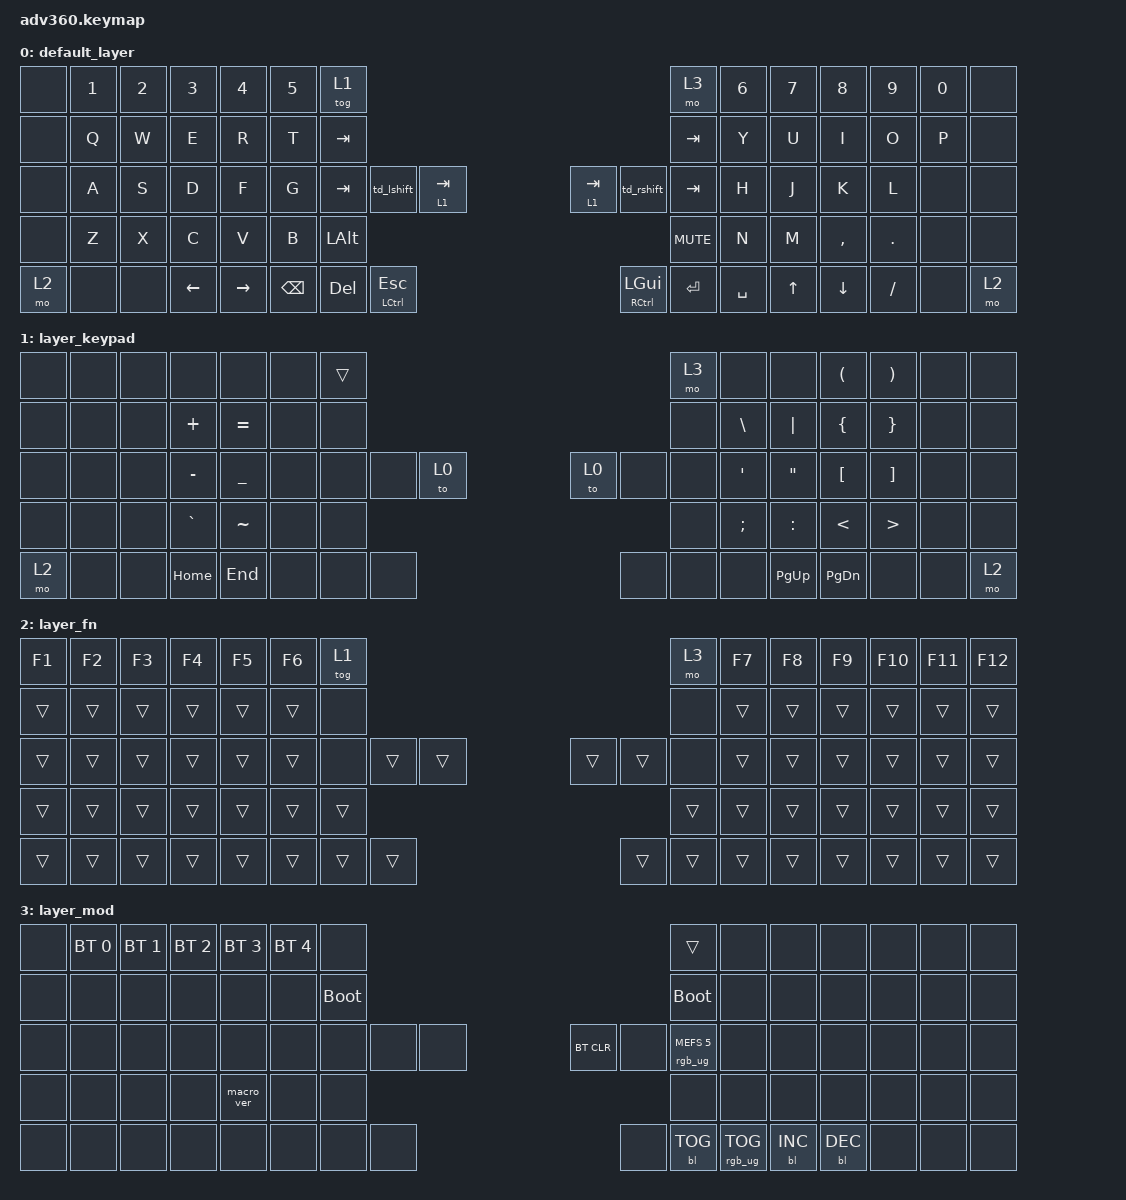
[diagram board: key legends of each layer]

/*
 * Copyright (c) 2020 The ZMK Contributors
 *
 * SPDX-License-Identifier: MIT
 */


/* THIS FILE WAS GENERATED!
 *
 * This file was generated automatically. You may or may not want to
 * edit it directly.
 */

#include <behaviors.dtsi>
#include <dt-bindings/zmk/keys.h>
#include <dt-bindings/zmk/bt.h>
#include <dt-bindings/zmk/rgb.h>
#include <dt-bindings/zmk/backlight.h>

/ {
  behaviors {
    #include "macros.dtsi"
    #include "version.dtsi"
 
    td_lshift: td_lshift {
        compatible = "zmk,behavior-tap-dance";
        #binding-cells = <0>;
        tapping-term-ms = <200>;
        bindings = <&kp LSHIFT>, <&kp CAPS>;
    };
    td_rshift: td_rshift {
        compatible = "zmk,behavior-tap-dance";
        #binding-cells = <0>;
        tapping-term-ms = <200>;
        bindings = <&kp RSHIFT>, <&caps_word>;
    };

    hm: homerow_mods {
        compatible = "zmk,behavior-hold-tap";
        label = "HOMEROW_MODS";
        #binding-cells = <2>;
        tapping-term-ms = <200>;
        quick_tap_ms = <175>;
        flavor = "tap-preferred";
        bindings = <&kp>, <&kp>;
    };
  };

    keymap {
        compatible = "zmk,keymap";


        default_layer {
            bindings = <
  &none  &kp N1  &kp N2    &kp N3     &kp N4  &kp N5                   &tog 1                                                                                                &mo 3  &kp N6  &kp N7     &kp N8     &kp N9  &kp N0   &none
  &none   &kp Q   &kp W     &kp E      &kp R   &kp T                  &kp TAB                                                                                              &kp TAB   &kp Y   &kp U      &kp I      &kp O   &kp P   &none
  &none   &kp A   &kp S     &kp D      &kp F   &kp G                  &kp TAB  &td_lshift             &lt 1 TAB                                   &lt 1 TAB  &td_rshift    &kp TAB   &kp H   &kp J      &kp K      &kp L   &none   &none
  &none   &kp Z   &kp X     &kp C      &kp V   &kp B                                               &kp LEFT_ALT                                  &kp K_MUTE                          &kp N   &kp M  &kp COMMA    &kp DOT   &none   &none
  &mo 2   &none   &none  &kp LEFT  &kp RIGHT                    &kp BACKSPACE     &kp DEL  &mt LEFT_CONTROL ESC                  &mt RIGHT_CONTROL LEFT_GUI   &kp ENTER  &kp SPACE          &kp UP   &kp DOWN  &kp SLASH   &none   &mo 2
            >;
        };

        layer_keypad {
            bindings = <
  &none   &none   &none      &none           &none   &none            &trans                                                   &mo 3             &none              &none  &kp LEFT_PARENTHESIS  &kp RIGHT_PARENTHESIS   &none   &none
  &none   &none   &none   &kp PLUS       &kp EQUAL   &none             &none                                                   &none     &kp BACKSLASH           &kp PIPE        &kp LEFT_BRACE        &kp RIGHT_BRACE   &none   &none
  &none   &none   &none  &kp MINUS  &kp UNDERSCORE   &none             &none   &none   &to 0                   &to 0   &none   &none  &kp SINGLE_QUOTE  &kp DOUBLE_QUOTES      &kp LEFT_BRACKET      &kp RIGHT_BRACKET   &none   &none
  &none   &none   &none  &kp GRAVE       &kp TILDE   &none                             &none                   &none                     &kp SEMICOLON          &kp COLON         &kp LESS_THAN       &kp GREATER_THAN   &none   &none
  &mo 2   &none   &none   &kp HOME         &kp END                     &none   &none   &none                   &none   &none   &none                          &kp PAGE_UP         &kp PAGE_DOWN                  &none   &none   &mo 2
            >;
        };

        layer_fn {
            bindings = <
 &kp F1  &kp F2  &kp F3  &kp F4  &kp F5  &kp F6            &tog 1                                                   &mo 3  &kp F7  &kp F8  &kp F9  &kp F10  &kp F11  &kp F12
 &trans  &trans  &trans  &trans  &trans  &trans             &none                                                   &none  &trans  &trans  &trans   &trans   &trans   &trans
 &trans  &trans  &trans  &trans  &trans  &trans             &none  &trans  &trans                  &trans  &trans   &none  &trans  &trans  &trans   &trans   &trans   &trans
 &trans  &trans  &trans  &trans  &trans  &trans                            &trans                  &trans                  &trans  &trans  &trans   &trans   &trans   &trans
 &trans  &trans  &trans  &trans  &trans                    &trans  &trans  &trans                  &trans  &trans  &trans          &trans  &trans   &trans   &trans   &trans
            >;
        };

        layer_mod {
            bindings = <
  &none  &bt BT_SEL 0  &bt BT_SEL 1  &bt BT_SEL 2  &bt BT_SEL 3  &bt BT_SEL 4                  &none                                                                          &trans   &none       &none       &none   &none   &none   &none
  &none         &none         &none         &none         &none         &none            &bootloader                                                                     &bootloader   &none       &none       &none   &none   &none   &none
  &none         &none         &none         &none         &none         &none                  &none   &none   &none                  &bt BT_CLR       &none  &rgb_ug RGB_MEFS_CMD 5   &none       &none       &none   &none   &none   &none
  &none         &none         &none         &none    &macro_ver         &none                                  &none                       &none                                       &none       &none       &none   &none   &none   &none
  &none         &none         &none         &none         &none                                &none   &none   &none                       &none  &bl BL_TOG         &rgb_ug RGB_TOG          &bl BL_INC  &bl BL_DEC   &none   &none   &none
            >;
        };

    };
};
